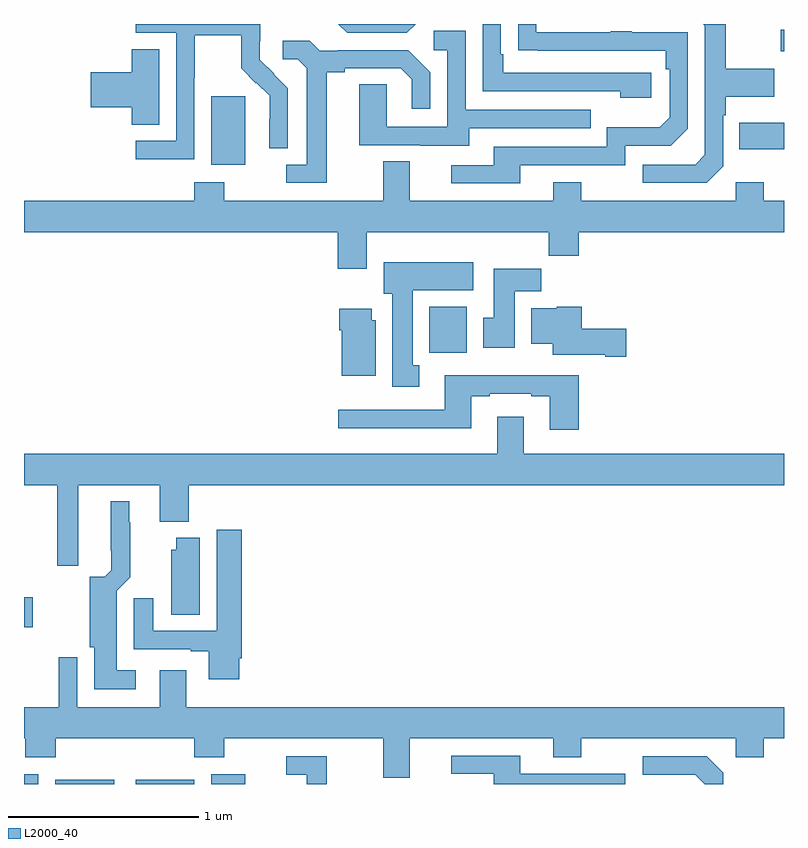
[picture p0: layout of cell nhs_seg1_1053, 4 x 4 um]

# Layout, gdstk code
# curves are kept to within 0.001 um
import gdstk
lib = gdstk.Library(unit=1e-6, precision=1e-09)
def R(c, l, rs):  # rectangles x0, y0, x1, y1
    for r in rs: c.add(gdstk.rectangle(r[:2], r[2:], *l))
def P(c, l, *ps):  # polygons
    for p in ps: c.add(gdstk.Polygon(p, *l))
L2000_40 = (2000, 40)

nhs_seg1_1053 = lib.new_cell('nhs_seg1_1053')
R(nhs_seg1_1053, L2000_40, [(169,510.199,169.075,510.25), (169.164,510.199,169.474,510.222), (169.587,510.199,169.896,510.222), (169.985,510.199,170.164,510.25), (169,511.025,169.045,511.183), (171.134,512.468,171.331,512.71), (169.985,513.458,170.164,513.819), (172.765,513.539,173,513.679), (172.983,514.055,173,514.168)])
P(nhs_seg1_1053, L2000_40, [(172.3,513.942),(171.523,513.942),(171.523,514.039),(171.51,514.039),(171.51,514.199),(171.414,514.199),(171.414,513.846),(172.139,513.846),(172.139,513.812),(172.3,513.812)],
  [(172.68,513.45),(172.68,513.719),(172.693,513.719),(172.693,513.815),(172.949,513.815),(172.949,513.963),(172.693,513.963),(172.693,514.199),(172.576,514.199),(172.584,514.191),(172.584,513.51),(172.533,513.459),(172.257,513.459),(172.257,513.363),(172.593,513.363)],
  [(171.613,513.456),(172.164,513.456),(172.164,513.558),(172.404,513.558),(172.494,513.648),(172.494,514.155),(172.199,514.155),(172.199,514.16),(172.087,514.16),(172.087,514.155),(171.697,514.155),(171.697,514.199),(171.601,514.199),(171.601,514.06),(172.378,514.059),(172.378,513.962),(172.398,513.962),(172.398,513.708),(172.345,513.655),(172.068,513.655),(172.068,513.552),(171.473,513.552),(171.473,513.456),(171.249,513.456),(171.249,513.36),(171.613,513.36)],
  [(171.062,514.199),(170.653,514.199),(170.7,514.152),(171.015,514.152)],
  [(169.896,513.916),(169.899,513.916),(169.899,514.14),(170.143,514.14),(170.143,513.965),(170.22,513.888),(170.223,513.891),(170.294,513.821),(170.294,513.698),(170.292,513.698),(170.292,513.544),(170.388,513.544),(170.388,513.862),(170.242,514.01),(170.242,514.107),(170.244,514.107),(170.244,514.199),(169.587,514.199),(169.587,514.152),(169.8,514.152),(169.8,513.585),(169.587,513.585),(169.587,513.487),(169.896,513.487)],
  [(171.343,513.651),(171.983,513.651),(171.983,513.747),(171.324,513.747),(171.324,514.163),(171.156,514.163),(171.156,514.062),(171.228,514.062),(171.228,513.657),(170.91,513.657),(170.91,513.881),(170.765,513.881),(170.765,513.561),(171.089,513.561),(171.089,513.557),(171.343,513.557)],
  [(170.593,513.944),(170.689,513.944),(170.689,513.966),(170.984,513.966),(171.041,513.909),(171.041,513.753),(171.138,513.753),(171.138,513.946),(171.022,514.062),(170.65,514.062),(170.65,514.059),(170.556,514.059),(170.504,514.111),(170.361,514.111),(170.361,514.014),(170.442,514.014),(170.489,513.967),(170.489,513.459),(170.379,513.459),(170.379,513.363),(170.593,513.363)],
  [(169.711,514.067),(169.568,514.067),(169.568,513.944),(169.35,513.944),(169.35,513.761),(169.568,513.761),(169.568,513.67),(169.711,513.67)],
  [(170.803,513.104),(171.763,513.104),(171.763,512.98),(171.92,512.98),(171.92,513.104),(173,513.104),(173,513.268),(172.893,513.268),(172.893,513.367),(172.746,513.367),(172.746,513.268),(171.933,513.268),(171.933,513.367),(171.785,513.367),(171.785,513.268),(171.031,513.268),(171.031,513.476),(170.891,513.476),(170.891,513.268),(170.055,513.268),(170.055,513.367),(169.895,513.367),(169.895,513.268),(169,513.268),(169,513.104),(170.651,513.104),(170.651,512.91),(170.803,512.91)],
  [(171.079,512.402),(171.046,512.402),(171.046,512.798),(171.364,512.798),(171.364,512.944),(170.894,512.944),(170.894,512.778),(170.939,512.778),(170.939,512.289),(171.079,512.289)],
  [(171.583,512.792),(171.722,512.792),(171.722,512.911),(171.473,512.911),(171.473,512.652),(171.416,512.652),(171.416,512.496),(171.583,512.496)],
  [(172.171,512.594),(171.935,512.594),(171.935,512.71),(171.804,512.71),(171.804,512.704),(171.671,512.704),(171.671,512.516),(171.782,512.516),(171.782,512.459),(172.058,512.459),(172.058,512.447),(172.171,512.447)],
  [(170.851,512.64),(170.83,512.64),(170.83,512.701),(170.66,512.701),(170.66,512.588),(170.672,512.588),(170.672,512.348),(170.851,512.348)],
  [(171.92,512.35),(171.215,512.35),(171.215,512.169),(170.655,512.169),(170.655,512.072),(171.355,512.072),(171.355,512.241),(171.451,512.241),(171.451,512.253),(171.671,512.253),(171.671,512.241),(171.767,512.241),(171.767,512.064),(171.92,512.064)],
  [(169,511.772),(169.175,511.772),(169.175,511.347),(169.285,511.347),(169.285,511.772),(169.715,511.772),(169.715,511.58),(169.868,511.58),(169.868,511.772),(173,511.772),(173,511.936),(171.631,511.936),(171.631,512.131),(171.491,512.131),(171.491,511.936),(169,511.936)],
  [(169.588,510.799),(169.489,510.799),(169.489,511.216),(169.559,511.286),(169.559,511.577),(169.555,511.577),(169.555,511.687),(169.457,511.687),(169.458,511.324),(169.424,511.29),(169.346,511.29),(169.346,510.918),(169.37,510.918),(169.37,510.698),(169.588,510.698)],
  [(170.134,510.862),(170.147,510.862),(170.147,511.537),(170.015,511.537),(170.015,511.005),(169.681,511.005),(169.681,511.177),(169.577,511.177),(169.577,510.909),(169.877,510.909),(169.877,510.897),(169.973,510.897),(169.973,510.75),(170.134,510.75)],
  [(169.924,511.495),(169.802,511.495),(169.802,511.431),(169.775,511.431),(169.775,511.09),(169.924,511.09)],
  [(169.855,510.799),(169.715,510.799),(169.715,510.604),(169.281,510.604),(169.281,510.865),(169.184,510.865),(169.184,510.604),(169,510.604),(169,510.44),(169.006,510.44),(169.006,510.341),(169.166,510.341),(169.166,510.44),(169.895,510.44),(169.895,510.341),(170.055,510.341),(170.055,510.44),(170.891,510.44),(170.891,510.232),(171.031,510.232),(171.031,510.44),(171.785,510.44),(171.785,510.341),(171.933,510.341),(171.933,510.44),(172.746,510.44),(172.746,510.341),(172.893,510.341),(172.893,510.44),(173,510.44),(173,510.604),(169.855,510.604)],
  [(172.164,510.252),(171.613,510.252),(171.613,510.348),(171.249,510.348),(171.249,510.252),(171.473,510.252),(171.473,510.199),(172.164,510.199)],
  [(170.593,510.345),(170.379,510.345),(170.379,510.249),(170.489,510.249),(170.489,510.199),(170.593,510.199)],
  [(172.68,510.258),(172.593,510.345),(172.257,510.345),(172.257,510.249),(172.533,510.249),(172.583,510.199),(172.68,510.199)])

lib.write_gds('nhs_seg1_1053.gds')
